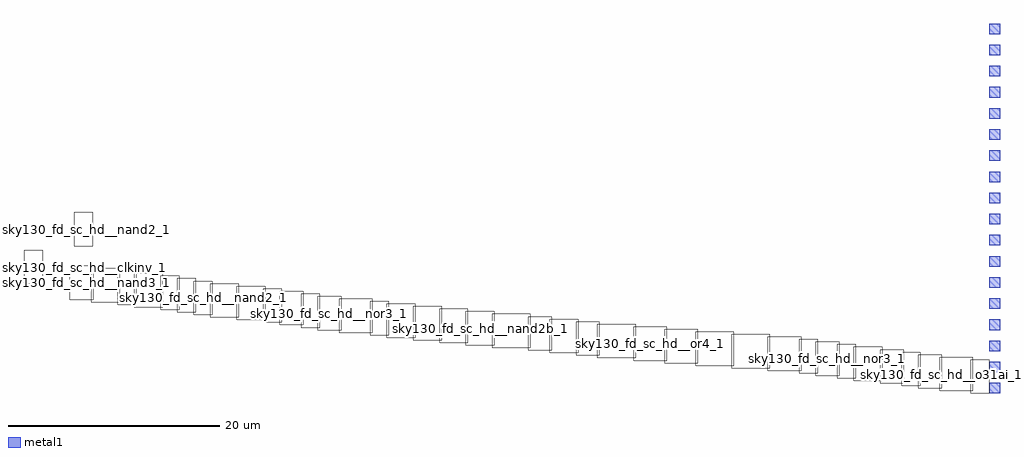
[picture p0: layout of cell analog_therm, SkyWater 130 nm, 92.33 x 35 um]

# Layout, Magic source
magic
tech sky130A
magscale 1 2
use sky130_fd_sc_hd__clkinv_1  x0 $PDKPATH/libs.ref/sky130_fd_sc_hd/mag
transform 1 0 -240 0 1 800
box -38 -48 314 592
use sky130_fd_sc_hd__nand2_1  x1 $PDKPATH/libs.ref/sky130_fd_sc_hd/mag
transform 1 0 708 0 1 1514
box -38 -48 314 592
use sky130_fd_sc_hd__nand3_1  x2 $PDKPATH/libs.ref/sky130_fd_sc_hd/mag
transform 1 0 628 0 1 504
box -38 -48 406 592
use sky130_fd_sc_hd__nand4_1  x3 $PDKPATH/libs.ref/sky130_fd_sc_hd/mag
transform 1 0 1034 0 1 456
box -38 -48 498 592
use sky130_fd_sc_hd__nand2_1  x4
transform 1 0 1532 0 1 408
box -38 -48 314 592
use sky130_fd_sc_hd__nand4_1  x5
transform 1 0 1846 0 1 360
box -38 -48 498 592
use sky130_fd_sc_hd__nor2_1  x6 $PDKPATH/libs.ref/sky130_fd_sc_hd/mag
transform 1 0 2344 0 1 312
box -38 -48 314 592
use sky130_fd_sc_hd__nand2_1  x7
transform 1 0 2658 0 1 264
box -38 -48 314 592
use sky130_fd_sc_hd__nand2_1  x8
transform 1 0 2972 0 1 216
box -38 -48 314 592
use sky130_fd_sc_hd__nor4_1  x9 $PDKPATH/libs.ref/sky130_fd_sc_hd/mag
transform 1 0 3286 0 1 168
box -38 -48 498 592
use sky130_fd_sc_hd__and2_0  x10 $PDKPATH/libs.ref/sky130_fd_sc_hd/mag
transform 1 0 3784 0 1 120
box -38 -48 498 592
use sky130_fd_sc_hd__nand2_1  x11
transform 1 0 4282 0 1 72
box -38 -48 314 592
use sky130_fd_sc_hd__nand3_1  x12
transform 1 0 4596 0 1 24
box -38 -48 406 592
use sky130_fd_sc_hd__nor2_1  x13
transform 1 0 5002 0 1 -24
box -38 -48 314 592
use sky130_fd_sc_hd__nor3_1  x14 $PDKPATH/libs.ref/sky130_fd_sc_hd/mag
transform 1 0 5316 0 1 -72
box -38 -48 406 592
use sky130_fd_sc_hd__a22oi_1  x15 $PDKPATH/libs.ref/sky130_fd_sc_hd/mag
transform 1 0 5722 0 1 -120
box -38 -48 590 592
use sky130_fd_sc_hd__nor2_1  x16
transform 1 0 6312 0 1 -168
box -38 -48 314 592
use sky130_fd_sc_hd__or3_1  x17 $PDKPATH/libs.ref/sky130_fd_sc_hd/mag
transform 1 0 6626 0 1 -216
box -38 -48 498 592
use sky130_fd_sc_hd__lpflow_inputiso1p_1  x18 $PDKPATH/libs.ref/sky130_fd_sc_hd/mag
transform 1 0 7124 0 1 -264
box -38 -48 498 592
use sky130_fd_sc_hd__nor4_1  x19
transform 1 0 7622 0 1 -312
box -38 -48 498 592
use sky130_fd_sc_hd__nand2b_1  x20 $PDKPATH/libs.ref/sky130_fd_sc_hd/mag
transform 1 0 8120 0 1 -360
box -38 -48 498 592
use sky130_fd_sc_hd__nor4b_1  x21 $PDKPATH/libs.ref/sky130_fd_sc_hd/mag
transform 1 0 8618 0 1 -408
box -38 -48 682 592
use sky130_fd_sc_hd__nor3_1  x22
transform 1 0 9300 0 1 -456
box -38 -48 406 592
use sky130_fd_sc_hd__nor4_1  x23
transform 1 0 9706 0 1 -504
box -38 -48 498 592
use sky130_fd_sc_hd__o21ai_0  x24 $PDKPATH/libs.ref/sky130_fd_sc_hd/mag
transform 1 0 10204 0 1 -552
box -38 -48 406 592
use sky130_fd_sc_hd__or3b_1  x25 $PDKPATH/libs.ref/sky130_fd_sc_hd/mag
transform 1 0 10610 0 1 -600
box -38 -48 682 592
use sky130_fd_sc_hd__or4_1  x26 $PDKPATH/libs.ref/sky130_fd_sc_hd/mag
transform 1 0 11292 0 1 -648
box -38 -48 590 592
use sky130_fd_sc_hd__a211oi_1  x27 $PDKPATH/libs.ref/sky130_fd_sc_hd/mag
transform 1 0 11882 0 1 -696
box -38 -48 590 592
use sky130_fd_sc_hd__a32oi_1  x28 $PDKPATH/libs.ref/sky130_fd_sc_hd/mag
transform 1 0 12472 0 1 -744
box -38 -48 682 592
use sky130_fd_sc_hd__o2111ai_1  x29 $PDKPATH/libs.ref/sky130_fd_sc_hd/mag
transform 1 0 13154 0 1 -792
box -38 -48 682 592
use sky130_fd_sc_hd__nand3b_1  x30 $PDKPATH/libs.ref/sky130_fd_sc_hd/mag
transform 1 0 13836 0 1 -840
box -38 -48 590 592
use sky130_fd_sc_hd__nand2_1  x31
transform 1 0 14426 0 1 -888
box -38 -48 314 592
use sky130_fd_sc_hd__nor3_1  x32
transform 1 0 14740 0 1 -936
box -38 -48 406 592
use sky130_fd_sc_hd__nand2_1  x33
transform 1 0 15146 0 1 -984
box -38 -48 314 592
use sky130_fd_sc_hd__nand4_1  x34
transform 1 0 15460 0 1 -1032
box -38 -48 498 592
use sky130_fd_sc_hd__o21ai_0  x35
transform 1 0 15958 0 1 -1080
box -38 -48 406 592
use sky130_fd_sc_hd__nor2_1  x36
transform 1 0 16364 0 1 -1128
box -38 -48 314 592
use sky130_fd_sc_hd__o21ai_0  x37
transform 1 0 16678 0 1 -1176
box -38 -48 406 592
use sky130_fd_sc_hd__o31ai_1  x38 $PDKPATH/libs.ref/sky130_fd_sc_hd/mag
transform 1 0 17084 0 1 -1224
box -38 -48 590 592
use sky130_fd_sc_hd__nand2_1  x39
transform 1 0 17674 0 1 -1272
box -38 -48 314 592
use Analog  x40
transform 1 0 17988 0 1 5480
box 0 -6800 200 200
<< end >>

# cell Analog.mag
magic
tech sky130A
<< metal1 >>
rect 0 0 100 100
rect 0 -200 100 -100
rect 0 -400 100 -300
rect 0 -600 100 -500
rect 0 -800 100 -700
rect 0 -1000 100 -900
rect 0 -1200 100 -1100
rect 0 -1400 100 -1300
rect 0 -1600 100 -1500
rect 0 -1800 100 -1700
rect 0 -2000 100 -1900
rect 0 -2200 100 -2100
rect 0 -2400 100 -2300
rect 0 -2600 100 -2500
rect 0 -2800 100 -2700
rect 0 -3000 100 -2900
rect 0 -3200 100 -3100
rect 0 -3400 100 -3300
<< labels >>
flabel metal1 0 0 100 100 0 FreeSans 128 0 0 0 Vp
port 0 nsew
flabel metal1 0 -200 100 -100 0 FreeSans 128 0 0 0 Vin
port 1 nsew
flabel metal1 0 -400 100 -300 0 FreeSans 128 0 0 0 V1
port 2 nsew
flabel metal1 0 -600 100 -500 0 FreeSans 128 0 0 0 V2
port 3 nsew
flabel metal1 0 -800 100 -700 0 FreeSans 128 0 0 0 V3
port 4 nsew
flabel metal1 0 -1000 100 -900 0 FreeSans 128 0 0 0 V4
port 5 nsew
flabel metal1 0 -1200 100 -1100 0 FreeSans 128 0 0 0 V5
port 6 nsew
flabel metal1 0 -1400 100 -1300 0 FreeSans 128 0 0 0 V6
port 7 nsew
flabel metal1 0 -1600 100 -1500 0 FreeSans 128 0 0 0 V7
port 8 nsew
flabel metal1 0 -1800 100 -1700 0 FreeSans 128 0 0 0 V8
port 9 nsew
flabel metal1 0 -2000 100 -1900 0 FreeSans 128 0 0 0 V9
port 10 nsew
flabel metal1 0 -2200 100 -2100 0 FreeSans 128 0 0 0 V10
port 11 nsew
flabel metal1 0 -2400 100 -2300 0 FreeSans 128 0 0 0 V11
port 12 nsew
flabel metal1 0 -2600 100 -2500 0 FreeSans 128 0 0 0 V12
port 13 nsew
flabel metal1 0 -2800 100 -2700 0 FreeSans 128 0 0 0 V13
port 14 nsew
flabel metal1 0 -3000 100 -2900 0 FreeSans 128 0 0 0 V14
port 15 nsew
flabel metal1 0 -3200 100 -3100 0 FreeSans 128 0 0 0 V15
port 16 nsew
flabel metal1 0 -3400 100 -3300 0 FreeSans 128 0 0 0 Vn
port 17 nsew
<< end >>
